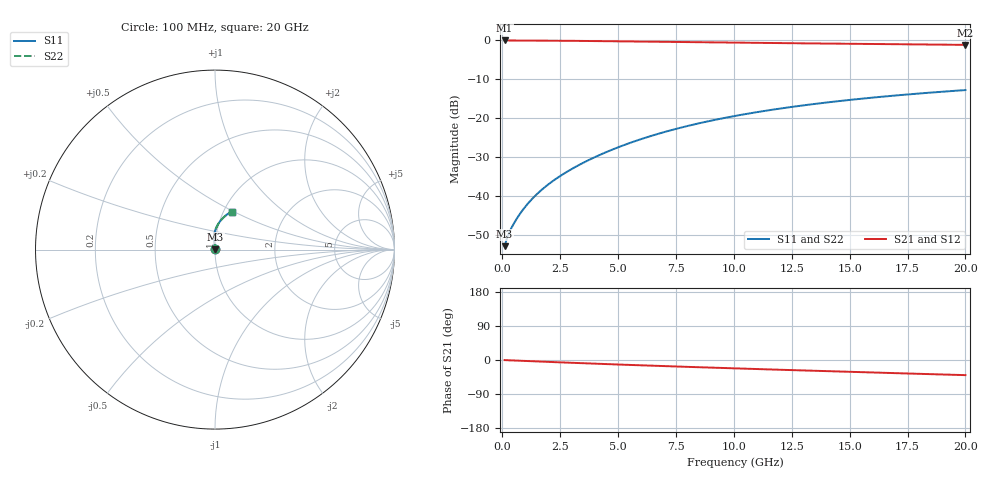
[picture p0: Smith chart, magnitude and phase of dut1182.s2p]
! Touchstone file exported from HFSS 2024.1.0
!  File:  C:/UserFiles/LocalFiles/RDL_TSV_Batchsim/temp_RDL_top_1182_1780049293.aedt
!  Generated:  06:10:00 PM May 29, 2026
!  Design:  RDL_top
!  Project:  temp_RDL_top_1182_1780049293
!  Setup:  Setup1
!  Solution:  Sweep
! Variables:
!  dtsv = 10.80580581um
!  hbump = 3um
!  htsv = 54.19um
!  ldown = 100um
!  lrdl = 693.63um
!  p = 40
!  p1 = 40.98um
!  rhole = 1um
!  t = 450um
!  tdown = 3.915915916um
!  trdl = 4.98um
!  wdown = 15.38538539um
!  wrdl = 27.34um
# GHz S MA R 50.000000
! Terminal data exported
! Port[1] = Box2_T1
! Port[2] = Box2_T2
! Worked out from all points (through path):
!   200 points, 100 MHz to 20 GHz, reference 50 ohm
!   highest |S21| = -0.02 dB at 100 MHz (marker M1); lowest = -1.1 dB at 20 GHz (marker M2)
!   group delay of S21, straight-line fit = 5.44 ps
!   lowest |S11| = -52.8 dB at 100 MHz (marker M3), VSWR 1.00, Z = 50.2 + j0.102 ohm
!   |S11| at or under -10 dB: start of sweep to end of sweep
!   |S22| runs from -52.8 to -12.7 dB; largest |S21 - S12| = 2.1e-14
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0.1  0.002302 26.1  0.9979 -0.3  0.9979 -0.3  0.002302 26.1
! Gamma 0 0 0 0
! Port Impedance 50 0 50 0
0.2  0.002914 37.9  0.9976 -0.5  0.9976 -0.5  0.002914 37.9
0.3  0.003458 45.0  0.9974 -0.8  0.9974 -0.8  0.003458 45.0
0.5  0.004497 55.9  0.997 -1.3  0.997 -1.3  0.004497 55.9
0.7  0.005607 63.9  0.9967 -1.8  0.9967 -1.8  0.005608 63.9
0.9  0.006801 69.8  0.9962 -2.3  0.9962 -2.3  0.006801 69.8
1.3  0.009375 77.8  0.9951 -3.3  0.9951 -3.3  0.009375 77.8
1.7  0.01215 83.0  0.9937 -4.3  0.9937 -4.3  0.01215 83.0
2.2  0.01587 87.6  0.9914 -5.5  0.9914 -5.5  0.01587 87.5
2.8  0.02074 91.3  0.9882 -6.9  0.9882 -6.9  0.02074 91.3
3.5  0.02701 94.1  0.9838 -8.6  0.9838 -8.6  0.027 94.1
4.2  0.03393 95.8  0.979 -10.2  0.979 -10.2  0.03391 95.7
5  0.04257 96.6  0.9732 -11.9  0.9732 -11.9  0.04254 96.5
5.9  0.0531 96.5  0.9664 -13.9  0.9664 -13.9  0.05306 96.4
6.8  0.0643 95.6  0.9595 -15.7  0.9595 -15.7  0.06424 95.5
8.4  0.08527 92.9  0.9476 -18.9  0.9476 -18.9  0.08518 92.8
10.1  0.1082 89.2  0.9356 -22.2  0.9356 -22.2  0.1081 89.2
11.7  0.1297 85.4  0.9249 -25.2  0.9249 -25.2  0.1296 85.4
13.4  0.1521 81.4  0.9141 -28.3  0.9141 -28.3  0.1519 81.3
15  0.1725 77.6  0.9044 -31.2  0.9044 -31.2  0.1723 77.6
16.7  0.1933 73.7  0.8945 -34.2  0.8945 -34.2  0.1931 73.7
20  0.2307 66.5  0.8763 -39.9  0.8763 -39.9  0.2304 66.5
